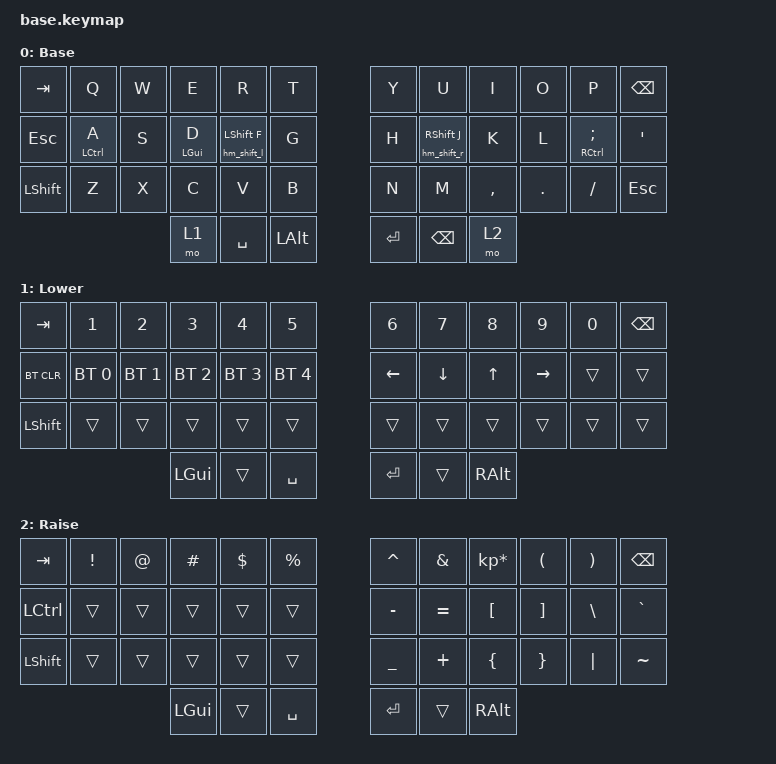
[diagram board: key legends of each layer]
#include <behaviors.dtsi>
#include <dt-bindings/zmk/keys.h>
#include <dt-bindings/zmk/bt.h>
#include <dt-bindings/zmk/rgb.h>
#include "zmk-helpers/helper.h"

#include "settings.dtsi"
#include "behaviors_homerow_mods.dtsi"

/ {
        keymap {
                compatible = "zmk,keymap";

                default_layer {
// -----------------------------------------------------------------------------------------
// |  TAB |  Q  |  W  |  E  |  R  |  T  |   |  Y  |  U   |  I  |  O  |  P  | BKSP |
// | CTRL |  A  |  S  |  D  |  F  |  G  |   |  H  |  J   |  K  |  L  |  ;  |  '   |
// | SHFT |  Z  |  X  |  C  |  V  |  B  |   |  N  |  M   |  ,  |  .  |  /  | ESC  |
//                    | GUI | LWR | SPC |   | ENT | RSE  | ALT |
                        display-name = "Base";
                        bindings = <
   &kp TAB           &kp Q &kp W        &kp E               &kp R &kp T   &kp Y               &kp U    &kp I     &kp O          &kp P      &kp BSPC
   &kp ESC   &hm_l LCTRL A &kp S &hm_l LGUI D &hm_shift_l LSHFT F &kp G   &kp H &hm_shift_r RSHFT J    &kp K     &kp L  &hm_r RCTRL SEMI   &kp SQT
   &kp LSHFT &kp Z &kp X &kp C &kp V &kp B   &kp N &kp M  &kp COMMA &kp DOT &kp FSLH &kp ESC
                  &mo 1 &kp SPACE &kp LALT   &kp RET  &kp BSPC &mo 2
                        >;
                };
                lower_layer {
// -----------------------------------------------------------------------------------------
// |  TAB |  1  |  2  |  3  |  4  |  5  |   |  6  |  7  |  8  |  9  |  0  | BKSP |
// | BTCLR| BT1 | BT2 | BT3 | BT4 | BT5 |   | LFT | DWN |  UP | RGT |     |      |
// | SHFT |     |     |     |     |     |   |     |     |     |     |     |      |
//                    | GUI |     | SPC |   | ENT |     | ALT |
                        display-name = "Lower";
                        bindings = <
   &kp TAB    &kp N1       &kp N2       &kp N3       &kp N4       &kp N5         &kp N6   &kp N7   &kp N8 &kp N9    &kp N0 &kp BSPC
   &bt BT_CLR &bt BT_SEL 0 &bt BT_SEL 1 &bt BT_SEL 2 &bt BT_SEL 3 &bt BT_SEL 4   &kp LEFT &kp DOWN &kp UP &kp RIGHT &trans &trans
   &kp LSHFT  &trans       &trans       &trans       &trans       &trans         &trans   &trans   &trans &trans    &trans &trans
                          	        &kp LGUI     &trans       &kp SPACE      &kp RET  &trans   &kp RALT
                        >;
                };

                raise_layer {
// -----------------------------------------------------------------------------------------
// |  TAB |  !  |  @  |  #  |  $  |  %  |   |  ^  |  &  |  *  |  (  |  )  | BKSP |
// | CTRL |     |     |     |     |     |   |  -  |  =  |  [  |  ]  |  \  |  `   |
// | SHFT |     |     |     |     |     |   |  _  |  +  |  {  |  }  | "|" |  ~   |
//                    | GUI |     | SPC |   | ENT |     | ALT |
                        display-name = "Raise";
                        bindings = <
   &kp  TAB  &kp EXCL &kp AT &kp HASH &kp DLLR &kp PRCNT   &kp CARET &kp AMPS  &kp KP_MULTIPLY &kp LPAR &kp RPAR &kp BSPC
   &kp LCTRL &trans   &trans &trans   &trans   &trans      &kp MINUS &kp EQUAL &kp LBKT        &kp RBKT &kp BSLH &kp GRAVE
   &kp LSHFT &trans   &trans &trans   &trans   &trans      &kp UNDER &kp PLUS  &kp LBRC        &kp RBRC &kp PIPE &kp TILDE
                    	     &kp LGUI &trans   &kp SPACE   &kp RET   &trans    &kp RALT
                        >;
                };

                extra_1 {
                        status = "reserved";
                };

                extra_2 {
                        status = "reserved";
                };

                extra_3 {
                        status = "reserved";
                };
        };
};
